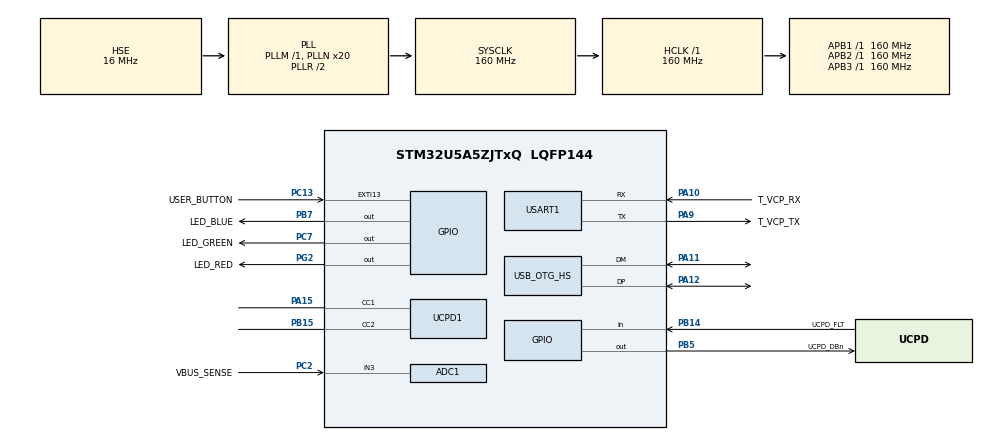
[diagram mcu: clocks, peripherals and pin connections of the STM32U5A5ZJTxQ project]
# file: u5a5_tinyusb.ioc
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ADC1.Channel-0\#ChannelRegularConversion=ADC_CHANNEL_3
ADC1.NbrOfConversionFlag=1
ADC1.OffsetNumber-0\#ChannelRegularConversion=ADC_OFFSET_NONE
ADC1.Rank-0\#ChannelRegularConversion=1
ADC1.SamplingTime-0\#ChannelRegularConversion=ADC_SAMPLETIME_5CYCLE
ADC1.master=1
CORTEX_M33_NS.userName=CORTEX_M33
Mcu.Family=STM32U5
Mcu.Name=STM32U5A5ZJTxQ
Mcu.Package=LQFP144
NVIC.OTG_HS_IRQn=true\:0\:0\:false\:false\:true\:true\:true\:true
NVIC.PriorityGroup=NVIC_PRIORITYGROUP_4
PA10.GPIO_Label=T_VCP_RX
PA10.Mode=Asynchronous
PA10.Signal=USART1_RX
PA11.Mode=Internal_Phy_Device
PA11.Signal=USB_OTG_HS_DM
PA12.Mode=Internal_Phy_Device
PA12.Signal=USB_OTG_HS_DP
PA13\ (JTMS/SWDIO).Mode=Trace_Asynchronous_SW
PA13\ (JTMS/SWDIO).Signal=DEBUG_JTMS-SWDIO
PA14\ (JTCK/SWCLK).Mode=Trace_Asynchronous_SW
PA14\ (JTCK/SWCLK).Signal=DEBUG_JTCK-SWCLK
PA15\ (JTDI).Mode=Sink_AllSignals
PA15\ (JTDI).Signal=UCPD1_CC1
PA9.GPIO_Label=T_VCP_TX
PA9.Mode=Asynchronous
PA9.Signal=USART1_TX
PB14.GPIO_Label=UCPD_FLT
PB14.Signal=GPIO_Input
PB15.Mode=Sink_AllSignals
PB15.Signal=UCPD1_CC2
PB3\ (JTDO/TRACESWO).Mode=Trace_Asynchronous_SW
PB3\ (JTDO/TRACESWO).Signal=DEBUG_JTDO-SWO
PB5.GPIO_Label=UCPD_DBn
PB5.Signal=GPIO_Output
PB7.GPIO_Label=LED_BLUE
PB7.Signal=GPIO_Output
PC13.GPIO_Label=USER_BUTTON
PC13.Signal=GPXTI13
PC14-OSC32_IN\ (PC14).Mode=LSE-External-Oscillator
PC14-OSC32_IN\ (PC14).Signal=RCC_OSC32_IN
PC15-OSC32_OUT\ (PC15).Mode=LSE-External-Oscillator
PC15-OSC32_OUT\ (PC15).Signal=RCC_OSC32_OUT
PC2.GPIO_Label=VBUS_SENSE
PC2.Mode=IN3-Single-Ended
PC2.Signal=ADC1_IN3
PC7.GPIO_Label=LED_GREEN
PC7.Signal=GPIO_Output
PG2.GPIO_Label=LED_RED
PG2.Signal=GPIO_Output
PH0-OSC_IN\ (PH0).Mode=HSE-External-Oscillator
PH0-OSC_IN\ (PH0).Signal=RCC_OSC_IN
PH1-OSC_OUT\ (PH1).Mode=HSE-External-Oscillator
PH1-OSC_OUT\ (PH1).Signal=RCC_OSC_OUT
PWR.PowerMode=PWR_SMPS_SUPPLY
ProjectManager.HeapSize=0x200
ProjectManager.StackSize=0x400
ProjectManager.TargetToolchain=Makefile
RCC.ADCFreq_Value=16000000
RCC.AHBFreq_Value=160000000
RCC.APB1Freq_Value=160000000
RCC.APB1TimFreq_Value=160000000
RCC.APB2Freq_Value=160000000
RCC.APB2TimFreq_Value=160000000
RCC.APB3Freq_Value=160000000
RCC.CortexFreq_Value=160000000
RCC.DACCLockSelectionVirtual=RCC_DAC1CLKSOURCE_LSI
RCC.EPOD_VALUE=16000000
RCC.EnbaleCSS=true
RCC.HCLKFreq_Value=160000000
RCC.HSE_VALUE=16000000
RCC.HSI48_VALUE=48000000
RCC.HSI_VALUE=16000000
RCC.LSIDIV_VALUE=32000
RCC.MSIClockRange=RCC_MSIRANGE_0
RCC.MSI_VALUE=48000000
RCC.PLL1P=8
RCC.PLL2Source=RCC_PLLSOURCE_HSE
RCC.PLL3Source=RCC_PLLSOURCE_HSE
RCC.PLLFRACN=0
RCC.PLLN=20
RCC.PLLSourceVirtual=RCC_PLLSOURCE_HSE
RCC.SYSCLKFreq_VALUE=160000000
RCC.SYSCLKSource=RCC_SYSCLKSOURCE_PLLCLK
RCC.USBPHYCLockSelection=RCC_USBPHYCLKSOURCE_HSE
RCC.VCOOutputFreq_Value=320000000
USART1.VirtualMode-Asynchronous=VM_ASYNC
USB_OTG_HS.VirtualMode=Device_HS
VP_ICACHE_VS_ICACHE.Mode=DirectMappedCache
VP_PWR_VS_DBSignals.Mode=DisableDeadBatterySignals
VP_PWR_VS_LPOM.Mode=PowerOptimisation
VP_PWR_VS_SECSignals.Mode=Security/Privilege
board=NUCLEO-U5A5ZJ-Q

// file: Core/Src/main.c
/* USER CODE BEGIN Header */
/**
  ******************************************************************************
  * @file           : main.c
  * @brief          : Main program body
  ******************************************************************************
  * @attention
  *
  * Copyright (c) 2024 STMicroelectronics.
  * All rights reserved.
  *
  * This software is licensed under terms that can be found in the LICENSE file
  * in the root directory of this software component.
  * If no LICENSE file comes with this software, it is provided AS-IS.
  *
  ******************************************************************************
  */
/* USER CODE END Header */
#include "main.h"
#include "adc.h"
#include "icache.h"
#include "stm32u5xx_hal.h"
#include "stm32u5xx_hal_gpio.h"
#include "ucpd.h"
#include "usart.h"
#include "usb_otg.h"
#include "gpio.h"
#include <stdint.h>
#include <ctype.h>
#include <string.h>
#include "usb_descriptors.c"

/* USER CODE BEGIN PTD */

static void led_blinking_task(void);
static void cdc_task(void);

/* USER CODE END PTD */

/* USER CODE BEGIN PV */

static uint32_t blink_interval_ms = BLINK_NOT_MOUNTED;
uint32_t count = 1000000;
uint32_t prior_count, prior_msec, count_per_second;

// DCACHE_HandleTypeDef *hdcache;
/* USER CODE END PV */

void SystemClock_Config(void);
static void SystemPower_Config(void);

/* USER CODE BEGIN 0 */

void OTG_HS_IRQHandler(void) {
  tud_int_handler(0);
}

/* USER CODE END 0 */

int main(void)
{

  /* MCU Configuration--------------------------------------------------------*/

  /* Reset of all peripherals, Initializes the Flash interface and the Systick. */
  HAL_Init();

  /* Configure the system clock */
  SystemClock_Config();

  /* Configure the System Power */
  SystemPower_Config();

  /* Initialize all configured peripherals */
  MX_GPIO_Init();
  MX_ADC1_Init();
  MX_ICACHE_Init();
  // HAL_DCACHE_Init(hdcache);
  // HAL_DCACHE_Enable(hdcache);
  MX_UCPD1_Init();
  MX_USART1_UART_Init();
  HAL_GPIO_WritePin(LED_RED_GPIO_Port, LED_RED_Pin, LED_STATE_ON);
  MX_USB_OTG_HS_PCD_Init();
  /* USER CODE BEGIN 2 */

  tusb_init();
  tud_init(BOARD_TUD_RHPORT);

  /* USER CODE END 2 */

  /* Infinite loop */
  while (1)
  {
    tud_task(); // tinyusb device task
    cdc_task();
    led_blinking_task();

  }
}

void SystemClock_Config(void) {
  RCC_OscInitTypeDef RCC_OscInitStruct = {};
  RCC_ClkInitTypeDef RCC_ClkInitStruct = {};

  __HAL_RCC_PWR_CLK_ENABLE();
  HAL_PWREx_EnableVddA();

  /** Configure the main internal regulator output voltage
  */
  if (HAL_PWREx_ControlVoltageScaling(PWR_REGULATOR_VOLTAGE_SCALE1) != HAL_OK) {
    Error_Handler();
  }

  /** Initializes the CPU, AHB and APB buses clocks
  */
  RCC_OscInitStruct.OscillatorType = RCC_OSCILLATORTYPE_HSI | RCC_OSCILLATORTYPE_HSE;
  RCC_OscInitStruct.HSEState = RCC_HSE_ON;
  RCC_OscInitStruct.HSIState = RCC_HSI_ON;
  RCC_OscInitStruct.HSICalibrationValue = RCC_HSICALIBRATION_DEFAULT;
  RCC_OscInitStruct.PLL.PLLState = RCC_PLL_ON;
  RCC_OscInitStruct.PLL.PLLSource = RCC_PLLSOURCE_HSE;
  RCC_OscInitStruct.PLL.PLLMBOOST = RCC_PLLMBOOST_DIV1;
  RCC_OscInitStruct.PLL.PLLM = 1;
  RCC_OscInitStruct.PLL.PLLN = 20;
  RCC_OscInitStruct.PLL.PLLP = 8;
  RCC_OscInitStruct.PLL.PLLQ = 2;
  RCC_OscInitStruct.PLL.PLLR = 2;
  RCC_OscInitStruct.PLL.PLLRGE = RCC_PLLVCIRANGE_1;
  RCC_OscInitStruct.PLL.PLLFRACN = 0;
  if (HAL_RCC_OscConfig(&RCC_OscInitStruct) != HAL_OK) {
    Error_Handler();
  }

  /** Initializes the CPU, AHB and APB buses clocks
  */
  RCC_ClkInitStruct.ClockType = RCC_CLOCKTYPE_HCLK | RCC_CLOCKTYPE_SYSCLK
                                | RCC_CLOCKTYPE_PCLK1 | RCC_CLOCKTYPE_PCLK2
                                | RCC_CLOCKTYPE_PCLK3;
  RCC_ClkInitStruct.SYSCLKSource = RCC_SYSCLKSOURCE_PLLCLK;
  RCC_ClkInitStruct.AHBCLKDivider = RCC_SYSCLK_DIV1;
  RCC_ClkInitStruct.APB1CLKDivider = RCC_HCLK_DIV1;
  RCC_ClkInitStruct.APB2CLKDivider = RCC_HCLK_DIV1;
  RCC_ClkInitStruct.APB3CLKDivider = RCC_HCLK_DIV1;

  HAL_RCC_ClockConfig(&RCC_ClkInitStruct, FLASH_LATENCY_4);

  // USB Clock
  __HAL_RCC_SYSCFG_CLK_ENABLE();

  RCC_PeriphCLKInitTypeDef usb_clk_init = { 0};
  usb_clk_init.PeriphClockSelection = RCC_PERIPHCLK_USBPHY;
  usb_clk_init.UsbPhyClockSelection = RCC_USBPHYCLKSOURCE_HSE;
  if (HAL_RCCEx_PeriphCLKConfig(&usb_clk_init) != HAL_OK) {
    Error_Handler();
  }

  /** Set the OTG PHY reference clock selection
  */
  HAL_SYSCFG_SetOTGPHYReferenceClockSelection(SYSCFG_OTG_HS_PHY_CLK_SELECT_1);

  // USART clock
  RCC_PeriphCLKInitTypeDef uart_clk_init = { 0};
  uart_clk_init.PeriphClockSelection = RCC_PERIPHCLK_USART1;
  uart_clk_init.Usart1ClockSelection = RCC_USART1CLKSOURCE_PCLK2;
  if (HAL_RCCEx_PeriphCLKConfig(&uart_clk_init) != HAL_OK) {
    Error_Handler();
  }
}

void SystemPower_Config(void) {
  HAL_PWREx_EnableVddIO2();

  /*
   * Switch to SMPS regulator instead of LDO
   */
  if (HAL_PWREx_ConfigSupply(PWR_SMPS_SUPPLY) != HAL_OK) {
    Error_Handler();
  }
}

// void SystemClock_Config(void)
// {
//   RCC_OscInitTypeDef RCC_OscInitStruct = {0};
//   RCC_ClkInitTypeDef RCC_ClkInitStruct = {0};

//   /** Configure the main internal regulator output voltage
//   */
//   if (HAL_PWREx_ControlVoltageScaling(PWR_REGULATOR_VOLTAGE_SCALE1) != HAL_OK)
//   {
//     Error_Handler();
//   }

//   /** Initializes the CPU, AHB and APB buses clocks
//   */
//   RCC_OscInitStruct.OscillatorType = RCC_OSCILLATORTYPE_HSI|RCC_OSCILLATORTYPE_HSE;
//   RCC_OscInitStruct.HSEState = RCC_HSE_ON;
//   RCC_OscInitStruct.HSIState = RCC_HSI_ON;
//   RCC_OscInitStruct.HSICalibrationValue = RCC_HSICALIBRATION_DEFAULT;
//   RCC_OscInitStruct.PLL.PLLState = RCC_PLL_ON;
//   RCC_OscInitStruct.PLL.PLLSource = RCC_PLLSOURCE_HSE;
//   RCC_OscInitStruct.PLL.PLLMBOOST = RCC_PLLMBOOST_DIV1;
//   RCC_OscInitStruct.PLL.PLLM = 1;
//   RCC_OscInitStruct.PLL.PLLN = 20;
//   RCC_OscInitStruct.PLL.PLLP = 8;
//   RCC_OscInitStruct.PLL.PLLQ = 2;
//   RCC_OscInitStruct.PLL.PLLR = 2;
//   RCC_OscInitStruct.PLL.PLLRGE = RCC_PLLVCIRANGE_1;
//   RCC_OscInitStruct.PLL.PLLFRACN = 0;
//   if (HAL_RCC_OscConfig(&RCC_OscInitStruct) != HAL_OK)
//   {
//     Error_Handler();
//   }

//   /** Initializes the CPU, AHB and APB buses clocks
//   */
//   RCC_ClkInitStruct.ClockType = RCC_CLOCKTYPE_HCLK|RCC_CLOCKTYPE_SYSCLK
//                               |RCC_CLOCKTYPE_PCLK1|RCC_CLOCKTYPE_PCLK2
//                               |RCC_CLOCKTYPE_PCLK3;
//   RCC_ClkInitStruct.SYSCLKSource = RCC_SYSCLKSOURCE_PLLCLK;
//   RCC_ClkInitStruct.AHBCLKDivider = RCC_SYSCLK_DIV1;
//   RCC_ClkInitStruct.APB1CLKDivider = RCC_HCLK_DIV1;
//   RCC_ClkInitStruct.APB2CLKDivider = RCC_HCLK_DIV1;
//   RCC_ClkInitStruct.APB3CLKDivider = RCC_HCLK_DIV1;

//   if (HAL_RCC_ClockConfig(&RCC_ClkInitStruct, FLASH_LATENCY_4) != HAL_OK)
//   {
//     Error_Handler();
//   }
// }

// /**
//   * @brief Power Configuration
//   * @retval None
//   */
// static void SystemPower_Config(void)
// {
//   HAL_PWREx_EnableVddIO2();

//   /*
//    * Switch to SMPS regulator instead of LDO
//    */
//   if (HAL_PWREx_ConfigSupply(PWR_SMPS_SUPPLY) != HAL_OK)
//   {
//     Error_Handler();
//   }
// /* USER CODE BEGIN PWR */
// /* USER CODE END PWR */
// }

/* USER CODE BEGIN 4 */
// echo to either Serial0 or Serial1
// with Serial0 as all lower case, Serial1 as all upper case
static void echo_serial_port(uint8_t itf, uint8_t buf[], uint32_t count) {
  uint8_t const case_diff = 'a' - 'A';

  for (uint32_t i = 0; i < count; i++) {
    if (itf == 0) {
      // echo back 1st port as lower case
      if (isupper(buf[i])) buf[i] += case_diff;
    } else {
      // echo back 2nd port as upper case
      if (islower(buf[i])) buf[i] -= case_diff;
    }

    tud_cdc_n_write_char(itf, buf[i]);
  }
  tud_cdc_n_write_flush(itf);
}

// Invoked when device is mounted
void tud_mount_cb(void) {
  blink_interval_ms = BLINK_MOUNTED;
}

// Invoked when device is unmounted
void tud_umount_cb(void) {
  blink_interval_ms = BLINK_NOT_MOUNTED;
}

//--------------------------------------------------------------------+
// USB CDC
//--------------------------------------------------------------------+
// static void cdc_task(void) {
//   uint8_t itf;

//   for (itf = 0; itf < CFG_TUD_CDC; itf++) {
//     // connected() check for DTR bit
//     // Most but not all terminal client set this when making connection
//     // if ( tud_cdc_n_connected(itf) )
//     {
//       if (tud_cdc_n_available(itf)) {
//         uint8_t buf[64];

//         uint32_t count = tud_cdc_n_read(itf, buf, sizeof(buf));

//         // echo back to both serial ports
        // echo_serial_port(0, buf, count);
//         echo_serial_port(1, buf, count);
//       }
//     }
//   }
// }

static void cdc_task(void) {
  uint8_t itf;

  // for (itf = 0; itf < CFG_TUD_CDC; itf++)
  {
    // connected() check for DTR bit
    // Most but not all terminal client set this when making connection
    if ( tud_cdc_n_connected(0) )
    {
        uint8_t buf[64];

        count+=1;
        uint32_t msec = HAL_GetTick();
        // uint32_t count = tud_cdc_n_read(itf, buf, sizeof(buf));
        // uint32_t sz = sprintf(buf, "count=%u, lines/sec=%u\n", count, count_per_second);
        tud_cdc_write_str("count=");
        tud_cdc_write_str(itoa(count,buf,10));
        tud_cdc_write_str(", lines/sec=");
        tud_cdc_write_str(itoa(count_per_second,buf,10));
        tud_cdc_write_str("\n");
        // tud_cdc_write_flush();
        if (msec - prior_msec >1000) {
          prior_msec += 1000;
          count_per_second = count-prior_count;
          prior_count = count;
        }

    }
  }
}

//--------------------------------------------------------------------+
// BLINKING TASK
//--------------------------------------------------------------------+
void led_blinking_task(void) {
  static uint32_t start_ms = 0;
  static bool led_state = false;

  // Blink every interval ms
  if (board_millis() - start_ms < blink_interval_ms) return; // not enough time
  start_ms += blink_interval_ms;

  board_led_write(led_state);
  led_state = 1 - led_state; // toggle
}

/* USER CODE END 4 */

void Error_Handler(void)
{
  __disable_irq();
  while (1)
  {
  }
}
